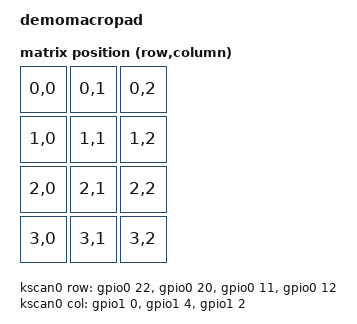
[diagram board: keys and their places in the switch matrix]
/*
 * Copyright (c) 2021 Nick Winans
 *
 * SPDX-License-Identifier: MIT
 */

/dts-v1/;
#include <nordic/nrf52840_qiaa.dtsi>

#include <dt-bindings/led/led.h>
#include <dt-bindings/zmk/matrix_transform.h>

#include "demomacropad-layouts.dtsi"
#include "demomacropad-pinctrl.dtsi"

/ {
    model = "demomacropad";
    compatible = "demo,macropad";

    chosen {
        zephyr,code-partition = &code_partition;
        zephyr,sram = &sram0;
        zephyr,flash = &flash0;
        zmk,kscan = &kscan0;
        zmk,physical-layout = &physical_layout0;
        zmk,underglow = &led_strip;
    };

    default_transform: keymap_transform_0 {
        compatible = "zmk,matrix-transform";
        columns = <3>;
        rows = <4>;
        map = <
                      RC(0,0) RC(0,1) RC(0,2)
                      RC(1,0) RC(1,1) RC(1,2)
                      RC(2,0) RC(2,1) RC(2,2)
                      RC(3,0) RC(3,1) RC(3,2)>;
    };

    kscan0: kscan {
        compatible = "zmk,kscan-gpio-matrix";
        wakeup-source;

        diode-direction = "col2row";
        row-gpios
            = <&gpio0 22 (GPIO_ACTIVE_HIGH | GPIO_PULL_DOWN)>
            , <&gpio0 20 (GPIO_ACTIVE_HIGH | GPIO_PULL_DOWN)>
            , <&gpio0 11 (GPIO_ACTIVE_HIGH | GPIO_PULL_DOWN)>
            , <&gpio0 12 (GPIO_ACTIVE_HIGH | GPIO_PULL_DOWN)>;
        col-gpios
            = <&gpio1 0 GPIO_ACTIVE_HIGH>
            , <&gpio1 4 GPIO_ACTIVE_HIGH>
            , <&gpio1 2 GPIO_ACTIVE_HIGH>;
    };

    EXT_POWER {
        compatible = "zmk,ext-power-generic";
        control-gpios = <&gpio0 13 GPIO_ACTIVE_HIGH>;
        init-delay-ms = <50>;
    };
};

&adc {
    status = "okay";
};

&gpiote {
    status = "okay";
};

&gpio0 {
    status = "okay";
};

&gpio1 {
    status = "okay";
};

&spi3 {
    compatible = "nordic,nrf-spim";

    pinctrl-0 = <&spi3_default>;
    pinctrl-1 = <&spi3_sleep>;
    pinctrl-names = "default", "sleep";
    status = "okay";

    led_strip: ws2812@0 {
        compatible = "worldsemi,ws2812-spi";

        /* SPI */
        reg = <0>; /* ignored, but necessary for SPI bindings */
        spi-max-frequency = <4000000>;

        /* WS2812 */
        chain-length = <12>; /* LED strip length */
        spi-one-frame = <0x70>;
        spi-zero-frame = <0x40>;
        color-mapping = <LED_COLOR_ID_GREEN LED_COLOR_ID_RED LED_COLOR_ID_BLUE>;
    };
};

zephyr_udc0: &usbd {
    status = "okay";
};

&flash0 {
    /*
     * For more information, see:
     * http://docs.zephyrproject.org/latest/devices/dts/flash_partitions.html
     */
    partitions {
        compatible = "fixed-partitions";
        #address-cells = <1>;
        #size-cells = <1>;

        sd_partition: partition@0 {
            reg = <0x00000000 0x00001000>;
        };

        code_partition: partition@1000 {
            reg = <0x00001000 0x000d3000>;
        };

        /*
         * The flash starting at 0x000d4000 and ending at
         * 0x000f3fff is reserved for use by the application.
         */

        /*
         * Storage partition will be used by FCB/LittleFS/NVS
         * if enabled.
         */
        storage_partition: partition@d4000 {
            reg = <0x000d4000 0x00020000>;
        };

        boot_partition: partition@f4000 {
            reg = <0x000f4000 0x0000c000>;
        };
    };
};

&physical_layout0 {
    kscan = <&kscan0>;
    transform = <&default_transform>;
};
